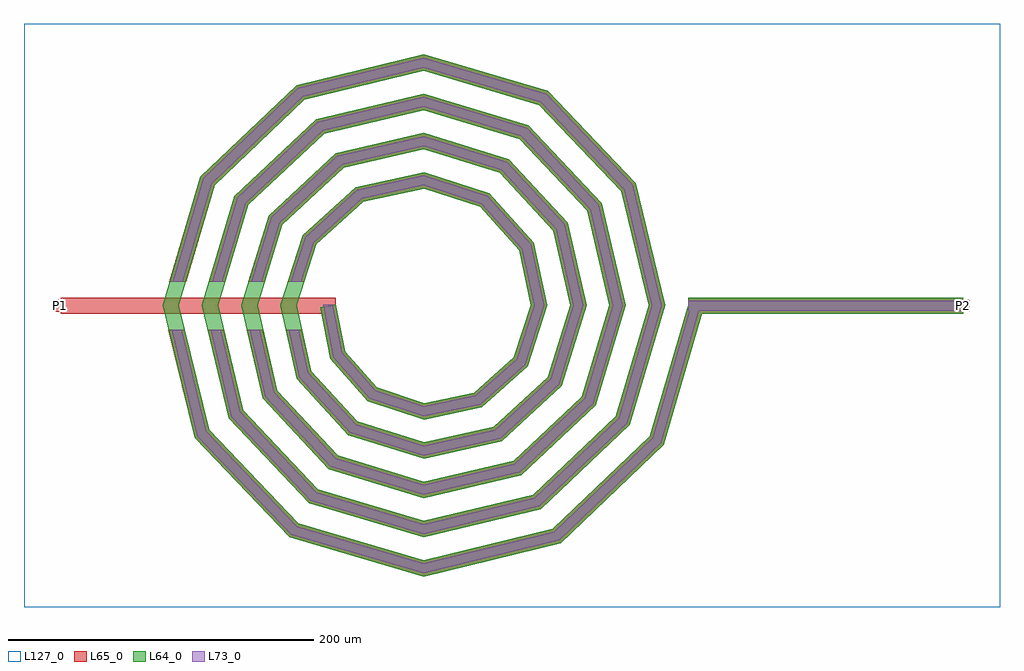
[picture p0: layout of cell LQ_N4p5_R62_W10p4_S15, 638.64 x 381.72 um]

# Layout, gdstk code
import gdstk
lib = gdstk.Library(unit=1e-6, precision=1e-09)
def R(c, l, rs):  # rectangles x0, y0, x1, y1
    for r in rs: c.add(gdstk.rectangle(r[:2], r[2:], *l))
def P(c, l, *ps):  # polygons
    for p in ps: c.add(gdstk.Polygon(p, *l))
L64_0 = (64, 0)
L65_0 = (65, 0)
L73_0 = (73, 0)
L127_0 = (127, 0)

lq_n4p5_r62_w10p4_s15 = lib.new_cell('LQ_N4p5_R62_W10p4_S15')
R(lq_n4p5_r62_w10p4_s15, L64_0, [(173.124,-5.2,353.124,5.2)])
P(lq_n4p5_r62_w10p4_s15, L64_0, [(-51.344,-30.026),(-30.531,-53.523),(0.311,-63.759),(33.211,-56.92),(59.071,-33.766),(70.18,0.284),(62.494,36.4),(36.998,64.62),(0.262,76.602),(-39.593,68.066),(-70.172,40.226),(-83.024,0.243),(-73.637,-42.788),(-43.452,-75.725),(0.227,-89.447),(45.986,-79.206),(81.28,-46.676),(95.869,0.212),(84.775,49.185),(49.899,86.835),(0.2,102.292),(-52.386,90.343),(-92.391,53.12),(-108.714,0.188),(-95.911,-55.588),(-56.341,-97.948),(0.178,-115.137),(58.791,-101.478),(103.506,-59.56),(121.559,0.169),(107.044,61.994),(62.779,109.064),(0.161,127.982),(-65.199,112.611),(-114.622,65.997),(-134.405,0.154),(-118.176,-68.404),(-69.214,-120.181),(0.147,-140.827),(71.61,-123.742),(125.74,-72.431),(147.25,0.141),(129.307,74.816),(75.647,131.299),(0.135,153.673),(-78.023,134.872),(-136.859,78.863),(-160.096,0.13),(-140.437,-81.229),(-82.079,-142.419),(0.125,-166.519),(84.437,-146.002),(147.979,-85.295),(173.332,1.459),(183.315,-1.459),(157.179,-90.888),(89.605,-155.448),(0.125,-177.283),(-87.681,-151.614),(-149.887,-86.389),(-170.86,0.13),(-146.049,84.474),(-83.173,144.327),(0.135,164.437),(81.267,140.484),(138.768,79.957),(158.014,0.141),(134.919,-78.06),(76.74,-133.208),(0.147,-151.591),(-74.854,-129.353),(-127.649,-73.523),(-145.168,0.154),(-123.787,71.649),(-70.306,122.09),(0.161,138.745),(68.444,118.22),(116.531,67.087),(132.322,0.169),(112.654,-65.24),(63.868,-110.973),(0.178,-125.899),(-62.036,-107.086),(-105.415,-60.648),(-119.475,0.188),(-101.519,58.833),(-57.427,99.858),(0.2,113.052),(55.632,95.95),(94.301,54.205),(106.629,0.212),(90.381,-52.432),(50.981,-88.746),(0.227,-100.205),(-49.233,-84.81),(-83.191,-47.756),(-93.782,0.243),(-79.239,46.036),(-44.529,77.637),(0.262,87.358),(42.842,73.666),(72.084,41.298),(80.935,0.284),(68.09,-39.65),(38.065,-66.533),(0.311,-74.51),(-36.462,-62.513),(-60.984,-34.827),(-67.809,-1.029),(-57.615,1.029)])
R(lq_n4p5_r62_w10p4_s15, L65_0, [(-237.512,-5.2,-57.512,5.2), (173.124,-5.2,353.124,5.2), (-241.512,-4,-233.512,4), (349.124,-4,357.124,4)])
P(lq_n4p5_r62_w10p4_s15, L65_0, [(-140.437,-81.23),(-82.079,-142.419),(0.125,-166.519),(84.437,-146.002),(147.979,-85.295),(173.333,1.459),(183.315,-1.459),(157.179,-90.888),(89.605,-155.448),(0.125,-177.283),(-87.681,-151.614),(-149.887,-86.389),(-167.047,-15.6),(-156.346,-15.6)],
  [(-118.176,-68.404),(-69.214,-120.181),(0.147,-140.828),(71.61,-123.742),(125.74,-72.431),(147.25,0.141),(129.307,74.816),(75.647,131.299),(0.135,153.673),(-78.023,134.872),(-136.859,78.863),(-155.469,15.6),(-166.309,15.6),(-146.049,84.474),(-83.174,144.328),(0.135,164.437),(81.267,140.484),(138.768,79.957),(158.014,0.141),(134.919,-78.06),(76.741,-133.208),(0.147,-151.591),(-74.854,-129.353),(-127.649,-73.523),(-141.422,-15.6),(-130.732,-15.6)],
  [(-95.911,-55.588),(-56.341,-97.948),(0.178,-115.137),(58.791,-101.478),(103.506,-59.56),(121.559,0.169),(107.044,61.994),(62.779,109.064),(0.161,127.982),(-65.199,112.611),(-114.622,65.997),(-129.694,15.6),(-140.549,15.6),(-123.787,71.649),(-70.306,122.09),(0.161,138.745),(68.444,118.22),(116.531,67.087),(132.322,0.169),(112.654,-65.24),(63.868,-110.973),(0.178,-125.899),(-62.036,-107.086),(-105.415,-60.648),(-115.827,-15.6),(-105.152,-15.6)],
  [(-73.637,-42.788),(-43.452,-75.725),(0.227,-89.447),(45.986,-79.206),(81.28,-46.676),(95.869,0.212),(84.775,49.185),(49.899,86.835),(0.2,102.292),(-52.386,90.343),(-92.391,53.12),(-103.88,15.6),(-114.756,15.6),(-101.519,58.834),(-57.427,99.858),(0.2,113.052),(55.632,95.95),(94.302,54.205),(106.629,0.212),(90.381,-52.432),(50.981,-88.746),(0.227,-100.206),(-49.233,-84.81),(-83.191,-47.756),(-90.286,-15.6),(-79.636,-15.6)],
  [(-30.532,-53.523),(0.311,-63.759),(33.211,-56.92),(59.071,-33.767),(70.18,0.284),(62.494,36.4),(36.998,64.62),(0.262,76.602),(-39.593,68.066),(-70.172,40.226),(-77.993,15.6),(-88.905,15.6),(-79.239,46.036),(-44.529,77.637),(0.262,87.358),(42.842,73.666),(72.084,41.298),(80.935,0.284),(68.091,-39.65),(38.065,-66.533),(0.311,-74.51),(-36.462,-62.513),(-60.984,-34.827),(-67.809,-1.029),(-57.615,1.029),(-51.344,-30.026)])
R(lq_n4p5_r62_w10p4_s15, L73_0, [(173.124,-3.2,353.124,3.2)])
P(lq_n4p5_r62_w10p4_s15, L73_0, [(-142.254,-82.222),(-83.156,-144.187),(0.077,-168.589),(85.431,-147.818),(149.748,-86.37),(175.252,0.898),(181.395,0.898),(155.41,-89.813),(88.611,-153.631),(0.077,-175.213),(-86.604,-149.846),(-148.07,-85.397),(-164.989,-15.6),(-158.404,-15.6)],
  [(-119.998,-69.389),(-70.299,-121.945),(0.091,-142.897),(72.596,-125.562),(127.505,-73.514),(149.32,0.087),(131.126,75.805),(76.728,133.066),(0.083,155.743),(-79.013,136.691),(-138.626,79.942),(-157.553,15.6),(-164.225,15.6),(-144.282,83.395),(-82.183,142.509),(0.083,162.367),(80.186,138.718),(136.948,78.969),(155.944,0.087),(133.153,-76.978),(75.754,-131.388),(0.091,-149.521),(-73.77,-127.589),(-125.827,-72.539),(-139.366,-15.6),(-132.788,-15.6)],
  [(-97.739,-56.561),(-57.436,-99.706),(0.11,-117.206),(59.767,-103.304),(105.265,-60.652),(123.629,0.104),(108.869,62.974),(63.868,110.825),(0.099,130.052),(-66.181,114.434),(-116.384,67.084),(-131.781,15.6),(-138.461,15.6),(-122.024,70.562),(-69.324,120.267),(0.099,136.675),(67.354,116.46),(114.707,66.108),(130.252,0.104),(110.894,-64.147),(62.892,-109.147),(0.11,-123.829),(-60.941,-105.329),(-103.588,-59.675),(-113.774,-15.6),(-107.205,-15.6)],
  [(-75.474,-43.744),(-44.564,-77.472),(0.14,-91.516),(46.946,-81.041),(83.03,-47.783),(97.938,0.131),(86.607,50.15),(51.002,88.588),(0.123,104.361),(-53.355,92.173),(-94.147,54.219),(-105.972,15.6),(-112.665,15.6),(-99.763,57.735),(-56.458,98.028),(0.123,110.983),(54.53,94.197),(92.47,53.24),(104.56,0.131),(88.63,-51.325),(50.021,-86.911),(0.14,-98.137),(-48.121,-83.063),(-81.353,-46.801),(-88.238,-15.6),(-81.684,-15.6)],
  [(-31.672,-55.252),(0.191,-65.826),(34.144,-58.769),(60.805,-34.898),(72.249,0.175),(64.338,37.342),(38.122,66.36),(0.161,78.671),(-40.542,69.906),(-71.916,41.343),(-80.091,15.6),(-86.806,15.6),(-77.495,44.919),(-43.579,75.796),(0.161,85.29),(41.718,71.926),(70.24,40.356),(78.866,0.175),(66.356,-38.519),(37.131,-64.684),(0.191,-72.443),(-35.322,-60.784),(-59.13,-33.904),(-65.848,0.633),(-59.575,0.633),(-53.198,-30.949)])
R(lq_n4p5_r62_w10p4_s15, L127_0, [(-261.512,-197.283,377.124,184.437)])
lq_n4p5_r62_w10p4_s15.add(gdstk.Label('P2', (353.124,0), layer=65, texttype=0))
lq_n4p5_r62_w10p4_s15.add(gdstk.Label('P1', (-237.512,0), layer=65, texttype=0))
lq_n4p5_r62_w10p4_s15.add(gdstk.Label('P2', (357.124,0), layer=145, texttype=0))
lq_n4p5_r62_w10p4_s15.add(gdstk.Label('P1', (-241.512,0), layer=145, texttype=0))

lib.write_gds('LQ_N4p5_R62_W10p4_S15.gds')
